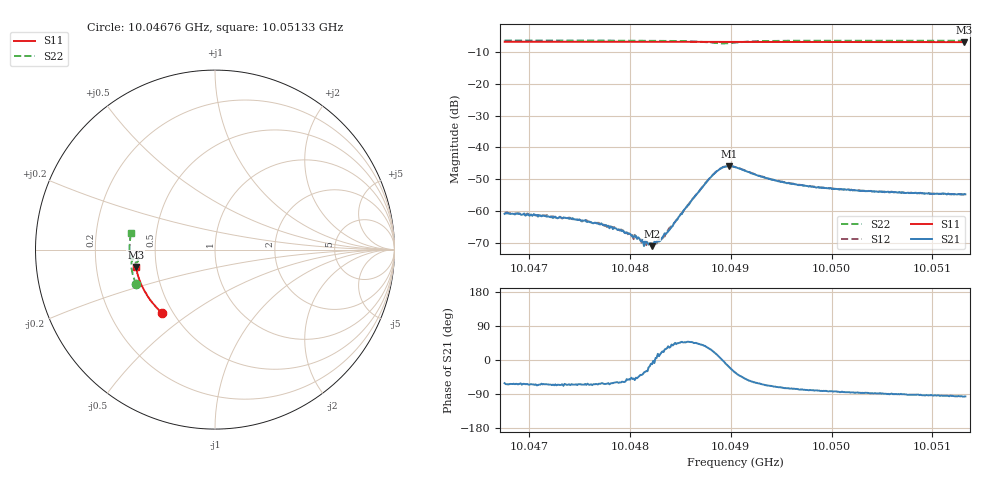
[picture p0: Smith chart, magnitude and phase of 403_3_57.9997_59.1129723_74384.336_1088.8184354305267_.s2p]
#  HZ  S  RI  R  50.00
! Rohde & Schwarz Vector Network Analyzer
! Rohde-Schwarz,ZNB20-2Port,1311601062101988,3.16
! Created: UTC 3/21/2024, 1:08:20 AM
! freq[Hz]  re:S11  im:S11  re:S21  im:S21  re:S12  im:S12  re:S22  im:S22
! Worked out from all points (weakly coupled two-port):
!   401 points, 10.04676 GHz to 10.05133 GHz, reference 50 ohm
!   highest |S21| = -45.92 dB at 10.04899 GHz (marker M1); lowest = -71.0 dB at 10.04822 GHz (marker M2)
!   lowest |S11| = -6.9 dB at 10.05132 GHz (marker M3), VSWR 2.65, Z = 19.1 - j4.65 ohm
!   |S11| at or under -10 dB: nowhere
!   |S22| runs from -7.3 to -6.4 dB; largest |S21 - S12| = 0.00036
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1.0046758e10  -0.2955 -0.3525  0.000435 -0.00079  0.000495 -0.000801  -0.4394 -0.1942
1.0047169e10  -0.3152 -0.3339  0.000367 -0.000737  0.000409 -0.000753  -0.4491 -0.1681
1.0047523e10  -0.3313 -0.3169  0.000302 -0.000645  0.000329 -0.000603  -0.4564 -0.145
1.0047672e10  -0.3377 -0.3095  0.000285 -0.000571  0.000341 -0.000555  -0.4588 -0.1347
1.0047843e10  -0.345 -0.3006  0.000271 -0.000469  0.000316 -0.000462  -0.4616 -0.1228
1.0048072e10  -0.3544 -0.289  0.000245 -0.000272  0.000277 -0.000245  -0.4646 -0.1063
1.004814e10  -0.3571 -0.2854  0.000236 -0.000152  0.000303 -0.000147  -0.4653 -0.1011
1.004822e10  -0.3603 -0.2812  0.000275 -5.39e-05  0.000305 -3.36e-05  -0.4659 -0.0948
1.0048289e10  -0.3629 -0.2775  0.000325 5.78e-05  0.000353 8.47e-05  -0.4662 -0.0893
1.0048346e10  -0.365 -0.2744  0.000396 0.000207  0.000355 0.000181  -0.4661 -0.0846
1.0048403e10  -0.3672 -0.2714  0.000439 0.000305  0.000439 0.000344  -0.466 -0.0796
1.0048574e10  -0.3735 -0.2619  0.00081 0.000913  0.000794 0.000964  -0.4629 -0.0636
1.0048803e10  -0.3815 -0.2492  0.00302 0.00157  0.00292 0.00173  -0.4425 -0.0455
1.0048906e10  -0.3848 -0.2434  0.0047 0.00024  0.0047 0.00052  -0.4288 -0.054
1.0048986e10  -0.3874 -0.2392  0.00478 -0.00164  0.00492 -0.00137  -0.431 -0.0672
1.0049043e10  -0.3894 -0.2361  0.00411 -0.00265  0.0043 -0.00239  -0.439 -0.0721
1.0049271e10  -0.3966 -0.2231  0.00172 -0.00315  0.00193 -0.00309  -0.4642 -0.0591
1.0049466e10  -0.4026 -0.2117  0.000946 -0.0028  0.00109 -0.00278  -0.4715 -0.0416
1.0049808e10  -0.412 -0.1913  0.000434 -0.00238  0.00058 -0.00236  -0.4758 -0.0143
1.0050574e10  -0.4296 -0.1442  -1.68e-05 -0.00196  0.000146 -0.00199  -0.4748 0.0399
1.0051316e10  -0.4415 -0.0971  -0.000201 -0.00181  -7.05e-05 -0.00184  -0.4677 0.0894
1.0051328e10  -0.4417 -0.0964  -0.000191 -0.00182  -0.000129 -0.00182  -0.4675 0.09
